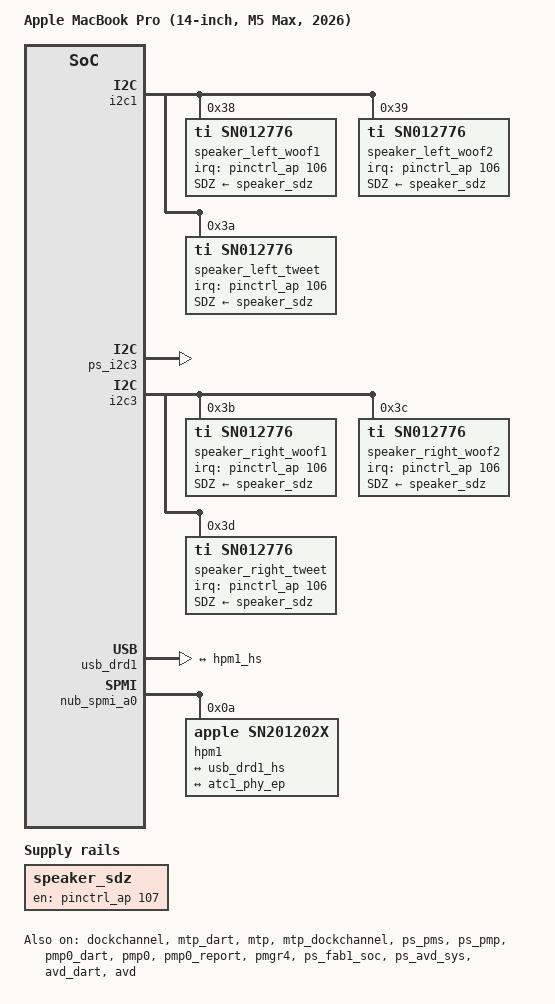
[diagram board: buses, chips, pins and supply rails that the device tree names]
// SPDX-License-Identifier: GPL-2.0+ OR MIT
/*
 * MacBook Pro (14-inch, M5 Max, 2026)
 *
 * target-type: J714c
 *
 * The M5 Max is one T6050 die, die 0 (t6050-max.dtsi). This file enables
 * and configures what has been brought up on this board, the same set as
 * t6050-j716c.dts; the SoC's other ports and buses stay disabled until each
 * is described for it.
 *
 * Copyright The Asahi Linux Contributors
 */

/dts-v1/;

#define T6050_J714C
#include "t6050-max.dtsi"

/ {
	compatible = "apple,j714c", "apple,t6050", "apple,arm-platform";
	model = "Apple MacBook Pro (14-inch, M5 Max, 2026)";
	chassis-type = "laptop";

	aliases {
		serial0 = &dockchannel;
		/* kboot fills the N1's factory addresses from /chosen through these */
		wifi0 = &n1_alpha;
		bluetooth0 = &n1_beta;
	};

	chosen {
		#address-cells = <2>;
		#size-cells = <2>;
		ranges;

		framebuffer0: framebuffer@0 {
			compatible = "apple,simple-framebuffer", "simple-framebuffer";
			reg = <0 0 0 0>; /* To be filled by the loader */
			/* Format properties will be added by the loader */
			status = "disabled";
		};
	};
};

/*
 * PCIe port 0: the N1 (Wi-Fi and Bluetooth). The registers, interrupt, DART streams
 * and PERST# pin are the J716c's: the J714c's ADT has the same port. The boot loader
 * trains the link after the SMC releases the N1's reset and keeps power, clocks, the
 * PHY and PERST; Linux owns the routing, MSI and the DART. Disabled with its DART
 * until the boot loader trains it, which also renumbers the bus here to the PCI
 * core's order.
 */
&pcie0 {
	reg = <0x1c 0xb0000000 0x0 0x10000000>,
	      <0x4 0x14000000 0x0 0x4000>,
	      <0x4 0x10028000 0x0 0x8000>,
	      <0x4 0x17010000 0x0 0x4000>,
	      <0x4 0x10024000 0x0 0x4000>;
	reg-names = "config", "rc", "port0", "phy0", "intr2axi0";
	interrupts = <AIC_IRQ 0 1523 IRQ_TYPE_LEVEL_HIGH>;
	interrupt-names = "port0";

	/* The N1's three functions are on DART streams 1-3 */
	iommu-map = <0x100 &dart_apcie0 1 3>;
	bus-range = <0 4>;

	port00: pci@0,0 {
		device_type = "pci";
		reg = <0x0 0 0 0 0>;
		bus-range = <1 1>;
		apple,link-trained-by-bootloader;
		/* PERST#, driven only by the root-port reset after the N1's ROM stage */
		reset-gpios = <&pinctrl_ap 80 GPIO_ACTIVE_LOW>;
		status = "disabled";

		#address-cells = <3>;
		#size-cells = <2>;
		ranges;

		interrupt-controller;
		#interrupt-cells = <1>;
		interrupt-map-mask = <0 0 0 7>;
		interrupt-map = <0 0 0 1 &port00 0 0 0 0>,
				<0 0 0 2 &port00 0 0 0 1>,
				<0 0 0 3 &port00 0 0 0 2>,
				<0 0 0 4 &port00 0 0 0 3>;

		/* platform ID (board 0x0a << 16) | chip 0x6050 */
		n1_control: control@0,0 {
			compatible = "pci106b,1900";
			reg = <0x10000 0x0 0x0 0x0 0x0>;
			firmware-name = "apple/centauri/j714c-ftab.bin";
			apple,centauri-platform-id = <0x000a6050>;
			apple,centauri-protocol = <27>;
		};

		n1_alpha: wifi@0,1 {
			compatible = "pci106b,1902";
			reg = <0x10100 0x0 0x0 0x0 0x0>;
			local-mac-address = [00 00 00 00 00 00];
		};

		n1_beta: bluetooth@0,2 {
			compatible = "pci106b,1903";
			reg = <0x10200 0x0 0x0 0x0 0x0>;
			local-bd-address = [00 00 00 00 00 00];
		};
	};
};

/* ATC3 and the PD controller bus nub-spmi-a2: not on this board's ports */
&nub_spmi_a2 {
	status = "disabled";
};

&atc3_phy_mbox {
	status = "disabled";
};

&atc3_phy {
	status = "disabled";
};

&usb_drd3 {
	status = "disabled";
};

&usb_drd3_dart_0 {
	status = "disabled";
};

&usb_drd3_dart_1 {
	status = "disabled";
};

/*
 * The six speaker amplifiers (ADT /arm-io/i2c1/audio-speaker* and /arm-io/i2c3/audio-speaker*,
 * SN012776) share one shutdown line, AP pin 107 (function-reset of the first), and one fault
 * interrupt, pin 106. The ADT's speaker-config gives each amp a transmit slot N with its
 * voltage sense in slot 4N and current sense in 4N+2, and names the amps by speakerN:
 * 0 left woofer 1, 1 right woofer 1, 2 left woofer 2, 3 right woofer 2, 4 left tweeter,
 * 5 right tweeter.
 *
 * There is no sound card yet: the AOP audio driver is not on this branch, and the jack codec
 * (i2c2) is not described. The amps stay in shutdown until a stream asks for them.
 */
/ {
	speaker_sdz: regulator-sn012776-sdz {
		compatible = "regulator-fixed";
		regulator-name = "sn012776-sdz";
		gpios = <&pinctrl_ap 107 GPIO_ACTIVE_HIGH>;
		enable-active-high;
	};
};

&i2c1 {
	status = "okay";

	speaker_left_woof1: codec@38 {
		compatible = "ti,sn012776", "ti,tas2764";
		reg = <0x38>;
		SDZ-supply = <&speaker_sdz>;
		apple,sdz-group-fail-closed;
		#sound-dai-cells = <0>;
		sound-name-prefix = "Left Woofer 1";
		interrupts-extended = <&pinctrl_ap 106 IRQ_TYPE_LEVEL_LOW>;
		ti,imon-slot-no = <2>;
		ti,vmon-slot-no = <0>;
	};

	speaker_left_woof2: codec@39 {
		compatible = "ti,sn012776", "ti,tas2764";
		reg = <0x39>;
		SDZ-supply = <&speaker_sdz>;
		apple,sdz-group-fail-closed;
		#sound-dai-cells = <0>;
		sound-name-prefix = "Left Woofer 2";
		interrupts-extended = <&pinctrl_ap 106 IRQ_TYPE_LEVEL_LOW>;
		ti,imon-slot-no = <10>;
		ti,vmon-slot-no = <8>;
	};

	speaker_left_tweet: codec@3a {
		compatible = "ti,sn012776", "ti,tas2764";
		reg = <0x3a>;
		SDZ-supply = <&speaker_sdz>;
		apple,sdz-group-fail-closed;
		#sound-dai-cells = <0>;
		sound-name-prefix = "Left Tweeter";
		interrupts-extended = <&pinctrl_ap 106 IRQ_TYPE_LEVEL_LOW>;
		ti,imon-slot-no = <18>;
		ti,vmon-slot-no = <16>;
	};
};

&i2c2 {
	status = "disabled";
};

/*
 * Only the pins a node here names are exposed, as on the J716c: pin 112's register
 * takes an SError when read. 80 is PCIe port 0's PERST#, 106 the amps' fault interrupt and
 * 107 their shutdown line.
 */
&pinctrl_ap {
	gpio-reserved-ranges = <0 80>, <81 25>, <108 113>;
};

/* This board's SMC fan and power keys are not yet checked */
&smc_hwmon {
	status = "disabled";
};

/*
 * The console is on the USB debug link, which drains only while a host reads
 * it; the machine also boots with nothing attached there.
 */
&dockchannel {
	apple,tx-never-wait;
	status = "okay";
};

/* The MTP and its DockChannel FIFO, which carry the keyboard and trackpad */
&mtp_mbox {
	status = "okay";
};

&mtp_dart {
	status = "okay";
};

&mtp {
	status = "okay";
};

/*
 * The keyboard and trackpad: the HID transport on the MTP's DockChannel FIFO.
 * The J714c's MTP firmware owns the trackpad AFE reset, so there is no reset
 * GPIO here, unlike the J716c.
 */
&mtp_dockchannel {
	status = "okay";

	mtp_hid: input@8000 {
		compatible = "apple,dockchannel-hid";
		reg = <0x8000 0x1000>, <0xc000 0x1000>,
		      <0x0 0x1000>, <0x4000 0x1000>;
		reg-names = "config", "data", "rmt-config", "rmt-data";
		iommus = <&mtp_dart 0>;
		interrupt-parent = <&mtp_dockchannel>;
		interrupts = <2 IRQ_TYPE_LEVEL_HIGH>,
			     <3 IRQ_TYPE_LEVEL_HIGH>;
		interrupt-names = "tx", "rx";
		apple,fifo-size = <0x800>;
		apple,helper-cpu = <&mtp>;

		multi-touch {
			apple,power-method = <2>;
			apple,firmware-managed-reset;
			firmware-name = "apple/tpmtfw-j714c.bin";
		};

		keyboard {
		};

		stm {
		};
	};
};

#include "t6050-peripherals.dtsi"

/*
 * The PMP (ADT pmp0, /chosen, /arm-io/pmgr), as on the J714s. iBoot loads its firmware and the
 * driver starts it with these boot arguments and the firmware properties below. Its report
 * tells it which devices are on; it then votes DCS and the fabric for GPU load itself, and the
 * PMC honours that next to the CLPC. The report, the PMP's vote and the GPU's request are
 * enabled together, so the GPU never waits on a disabled report.
 */
&ps_pms {
	status = "okay";
};

&ps_pmp {
	status = "okay";
};

&ps_pms_sram {
	status = "okay";
};

&pmp0_dart {
	status = "okay";
};

&pmp0_mbox {
	status = "okay";
};

&pmp0 {
	/* The J714c's board ID (0x0a, as in the N1 platform ID above) and the dram-vendor-id a J716c reports */
	apple,board-id = <10>;
	apple,dram-vendor-id = <255>;
	/* ADT /arm-io/pmgr pmc, pmc-pmgr, as read on a J716c */
	apple,pmc = <1>;
	apple,pmc-pmgr = <63>;
	status = "okay";
};

&pmp0_report {
	status = "okay";
};

&pmc {
	/* PMP, CLPC and AP agents, once the PMP runs */
	apple,static-voters = <0 1 3>;
	apple,pmp = <&pmp0>;
};

&sgx {
	power-domains = <&pmp0_gfx>;
};

#include "t6050-max-pmp-tunables.dtsi"

#include "t6050-max-atc2.dtsi"

/* The I2C power states have no described parent (SIO), as for i2c1 and i2c2 */
&ps_i2c3 {
	/delete-property/ power-domains;
	status = "okay";
};

&i2c3 {
	/*
	 * The stub's pmgr clock controller has no driver. The ADT gives i2c1, i2c2 and i2c3 the same
	 * clock-ids (4), so i2c3 takes the reference clock as i2c1 and i2c2 do.
	 */
	clocks = <&clkref>;
	status = "okay";

	speaker_right_woof1: codec@3b {
		compatible = "ti,sn012776", "ti,tas2764";
		reg = <0x3b>;
		SDZ-supply = <&speaker_sdz>;
		apple,sdz-group-fail-closed;
		#sound-dai-cells = <0>;
		sound-name-prefix = "Right Woofer 1";
		interrupts-extended = <&pinctrl_ap 106 IRQ_TYPE_LEVEL_LOW>;
		ti,imon-slot-no = <6>;
		ti,vmon-slot-no = <4>;
	};

	speaker_right_woof2: codec@3c {
		compatible = "ti,sn012776", "ti,tas2764";
		reg = <0x3c>;
		SDZ-supply = <&speaker_sdz>;
		apple,sdz-group-fail-closed;
		#sound-dai-cells = <0>;
		sound-name-prefix = "Right Woofer 2";
		interrupts-extended = <&pinctrl_ap 106 IRQ_TYPE_LEVEL_LOW>;
		ti,imon-slot-no = <14>;
		ti,vmon-slot-no = <12>;
	};

	speaker_right_tweet: codec@3d {
		compatible = "ti,sn012776", "ti,tas2764";
		reg = <0x3d>;
		SDZ-supply = <&speaker_sdz>;
		apple,sdz-group-fail-closed;
		#sound-dai-cells = <0>;
		sound-name-prefix = "Right Tweeter";
		interrupts-extended = <&pinctrl_ap 106 IRQ_TYPE_LEVEL_LOW>;
		ti,imon-slot-no = <22>;
		ti,vmon-slot-no = <20>;
	};
};

/*
 * ==== The left-front USB-C port (ATC1) ====
 *
 * ADT /arm-io/nub-spmi-a0/hpm1 (SN201202x, SPMI address 0xa, port-number 2, port-location
 * "left-front", acio-parent acio1), with atc-phy1, usb-drd1 and dart-usb1. The PHY, the DWC3 and
 * their DARTs and mailbox are the ATC1 template of t6050-dieX.dtsi; only the links to the PD
 * controller are the board's. The port's USB4/Thunderbolt router (/arm-io/acio1) and its
 * DisplayPort routes are not described yet; the PHY runs in USB mode.
 *
 * The left-back port (ATC0, hpm0) is the boot link's debug port. The combo PHY binding and
 * driver exclude it on purpose (apple,port-index 0), so it is not described either.
 */
/ {
	aliases {
		atcphy1 = &atc1_phy;
	};
};

&atc1_phy {
	port {
		atc1_phy_ep: endpoint {
			remote-endpoint = <&hpm1_ss>;
		};
	};
};

&usb_drd1 {
	port {
		usb_drd1_hs: endpoint {
			remote-endpoint = <&hpm1_hs>;
		};
	};
};

&nub_spmi_a0 {
	hpm1: usb-pd@a {
		compatible = "apple,sn201202x";
		reg = <0xa SPMI_USID>;

		connector {
			compatible = "usb-c-connector";
			label = "USB-C Left Front";
			power-role = "dual";
			data-role = "dual";

			ports {
				#address-cells = <1>;
				#size-cells = <0>;

				port@0 {
					reg = <0>;
					hpm1_hs: endpoint {
						remote-endpoint = <&usb_drd1_hs>;
					};
				};

				port@1 {
					reg = <1>;
					hpm1_ss: endpoint {
						remote-endpoint = <&atc1_phy_ep>;
					};
				};
			};
		};
	};
};

/* The host DROM from the J714cAP ADT (/arm-io/acio2 thunderbolt-drom); the boot loader replaces it */
&acio2_nhi {
	apple,thunderbolt-drom = [fd 02 00 00 00 00 00 00 00 90 19 c3 8c 00 5c 00
			00 00 00 00 00 00 08 81 82 02 82 00 00 00 08 82
			92 01 82 00 00 00 03 83 20 08 84 00 00 00 00 00
			00 08 85 00 00 00 00 00 00 05 86 09 01 00 08 87
			00 00 00 00 00 00 05 88 09 01 00 05 89 09 01 00
			05 8a 09 01 00 0e 01 41 70 70 6c 65 2c 20 49 6e
			63 2e 00 06 02 69 4f 53 00 00 00 00];
};

/* The video decoder, its DART and power states. */
&pmgr4 {
	status = "okay";
};

&ps_fab1_soc {
	status = "okay";
};

&ps_avd_sys {
	status = "okay";
};

&avd_dart {
	status = "okay";
};

&avd {
	status = "okay";
};
